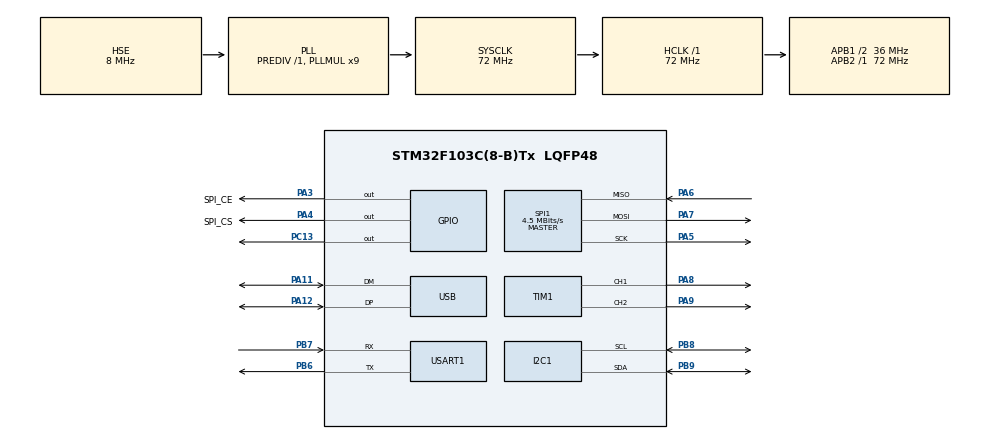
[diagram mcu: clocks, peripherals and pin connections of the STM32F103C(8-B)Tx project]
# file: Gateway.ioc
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Mcu.Family=STM32F1
Mcu.Name=STM32F103C(8-B)Tx
Mcu.Package=LQFP48
NVIC.PriorityGroup=NVIC_PRIORITYGROUP_4
NVIC.USB_LP_CAN1_RX0_IRQn=true\:0\:0\:false\:false\:true\:false\:true\:true
PA11.Mode=Device
PA11.Signal=USB_DM
PA12.Mode=Device
PA12.Signal=USB_DP
PA13.Mode=Serial_Wire
PA13.Signal=SYS_JTMS-SWDIO
PA14.Mode=Serial_Wire
PA14.Signal=SYS_JTCK-SWCLK
PA3.GPIO_Label=SPI_CE
PA3.Signal=GPIO_Output
PA4.GPIO_Label=SPI_CS
PA4.Signal=GPIO_Output
PA5.Mode=Full_Duplex_Master
PA5.Signal=SPI1_SCK
PA6.Mode=Full_Duplex_Master
PA6.Signal=SPI1_MISO
PA7.Mode=Full_Duplex_Master
PA7.Signal=SPI1_MOSI
PA8.Signal=S_TIM1_CH1
PA9.Signal=S_TIM1_CH2
PB6.Mode=Asynchronous
PB6.Signal=USART1_TX
PB7.Mode=Asynchronous
PB7.Signal=USART1_RX
PB8.Mode=I2C
PB8.Signal=I2C1_SCL
PB9.Mode=I2C
PB9.Signal=I2C1_SDA
PC13-TAMPER-RTC.Signal=GPIO_Output
PD0-OSC_IN.Mode=HSE-External-Oscillator
PD0-OSC_IN.Signal=RCC_OSC_IN
PD1-OSC_OUT.Mode=HSE-External-Oscillator
PD1-OSC_OUT.Signal=RCC_OSC_OUT
ProjectManager.HeapSize=0x200
ProjectManager.StackSize=0x400
ProjectManager.TargetToolchain=MDK-ARM V5.32
RCC.AHBFreq_Value=72000000
RCC.APB1CLKDivider=RCC_HCLK_DIV2
RCC.APB1Freq_Value=36000000
RCC.APB1TimFreq_Value=72000000
RCC.APB2Freq_Value=72000000
RCC.APB2TimFreq_Value=72000000
RCC.HCLKFreq_Value=72000000
RCC.PLLMUL=RCC_PLL_MUL9
RCC.PLLSourceVirtual=RCC_PLLSOURCE_HSE
RCC.SYSCLKFreq_VALUE=72000000
RCC.SYSCLKSource=RCC_SYSCLKSOURCE_PLLCLK
RCC.USBFreq_Value=48000000
RCC.USBPrescaler=RCC_USBCLKSOURCE_PLL_DIV1_5
SH.S_TIM1_CH1.0=TIM1_CH1,PWM Generation1 CH1
SH.S_TIM1_CH2.0=TIM1_CH2,Output Compare2 CH2
SPI1.BaudRatePrescaler=SPI_BAUDRATEPRESCALER_16
SPI1.CalculateBaudRate=4.5 MBits/s
SPI1.DataSize=SPI_DATASIZE_8BIT
SPI1.Direction=SPI_DIRECTION_2LINES
SPI1.Mode=SPI_MODE_MASTER
SPI1.VirtualType=VM_MASTER
TIM1.Channel-Output\ Compare2\ CH2=TIM_CHANNEL_2
TIM1.Channel-PWM\ Generation1\ CH1=TIM_CHANNEL_1
USART1.VirtualMode=VM_ASYNC
USB_DEVICE.APP_RX_DATA_SIZE=128
USB_DEVICE.APP_TX_DATA_SIZE=128
USB_DEVICE.CLASS_NAME_FS=CDC
USB_DEVICE.VirtualMode=Cdc
USB_DEVICE.VirtualModeFS=Cdc_FS
VP_TIM1_VS_ClockSourceINT.Mode=Internal
VP_USB_DEVICE_VS_USB_DEVICE_CDC_FS.Mode=CDC_FS
board=custom

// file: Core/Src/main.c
/* USER CODE BEGIN Header */
/**
  ******************************************************************************
  * @file           : main.c
  * @brief          : Main program body
  ******************************************************************************
  * @attention
  *
  * Copyright (c) 2023 STMicroelectronics.
  * All rights reserved.
  *
  * This software is licensed under terms that can be found in the LICENSE file
  * in the root directory of this software component.
  * If no LICENSE file comes with this software, it is provided AS-IS.
  *
  ******************************************************************************
  */
/* USER CODE END Header */
#include "main.h"
#include "usb_device.h"

/* USER CODE BEGIN Includes */
#include "MY_NRF24.h"
#include "i2c-lcd.h"
#include "stdio.h"
#include "usbd_cdc_if.h"
#include "stdio.h"
#include "stdlib.h"
/* USER CODE END Includes */

I2C_HandleTypeDef hi2c1;

SPI_HandleTypeDef hspi1;

TIM_HandleTypeDef htim1;

UART_HandleTypeDef huart1;

/* USER CODE BEGIN PV */
uint16_t myRxData1[50];
uint16_t myRxData2[50];
char ReceivedData[100];

extern uint8_t Rxcount;
extern uint32_t dataSize;
extern uint8_t check;
extern uint32_t time;
/* USER CODE END PV */

void SystemClock_Config(void);
static void MX_GPIO_Init(void);
static void MX_SPI1_Init(void);
static void MX_TIM1_Init(void);
static void MX_USART1_UART_Init(void);
static void MX_I2C1_Init(void);

/* USER CODE BEGIN 0 */

//   cmd +   length   +   dulieu   +   checksum
// [1 byte] [1 byte]   [length byte] [1 byte]
uint8_t checksum (uint16_t *data)
{
	uint16_t check_sum = 0;
	check_sum += data[0] + data[1];
	for (uint8_t i = 0; i< data[1]; i++)
	{
		check_sum += data[2+i];
	}
	return check_sum;
}

char tempVal1;
char tempVal2;
bool process_data (uint16_t *data)
{
	uint8_t len = 2+ data[1];
	if (checksum(data) == data[len])
	{
		return 1;
	}
	else
	{
		return 0;
	}
}

void command(uint8_t *data)
{
      HAL_GPIO_TogglePin(GPIOC, GPIO_PIN_13);
			CDC_Transmit_FS(data, sizeof(data));
			for(int i = 0; i < sizeof(data); i++)
			{
				data[i] = 0;
			}
			HAL_Delay(1000);

}

uint64_t RxpipeAddrs1 = 0x11223344AA;
uint64_t RxpipeAddrs2 = 0x11223344BB;
uint64_t TxpipeAddrs1 = 0x11223344AA;
uint64_t TxpipeAddrs2 = 0x11223344BB;
uint8_t pipenum;

char myAckPayload[32] = "Ack by STMF7!";
uint16_t myTxData[32];
#define SLAVE_ADDRESS_LCD 0x4E // change this according to ur setup
//uint8_t data[5]="ABC";
/* USER CODE END 0 */

int main(void)
{

  /* MCU Configuration--------------------------------------------------------*/

  /* Reset of all peripherals, Initializes the Flash interface and the Systick. */
  HAL_Init();

  /* Configure the system clock */
  SystemClock_Config();

  /* Initialize all configured peripherals */
  MX_GPIO_Init();
  MX_SPI1_Init();
  MX_TIM1_Init();
  MX_USART1_UART_Init();
  MX_I2C1_Init();
  MX_USB_DEVICE_Init();
  /* USER CODE BEGIN 2 */

	NRF24_begin(GPIOA, GPIO_PIN_4, GPIO_PIN_3, hspi1);
	nrf24_DebugUART_Init(huart1);

	printRadioSettings();

		//**** TRANSMIT - ACK ****//

	NRF24_setAutoAck(true);
	NRF24_setChannel(52);
	NRF24_setPayloadSize(32);
  NRF24_openReadingPipe(0, RxpipeAddrs1);
	NRF24_openReadingPipe(1, RxpipeAddrs2);

	HAL_Delay(1000);
	int myRxData11;
	char send1[8];
	char send2[8];

  /* USER CODE END 2 */

  /* Infinite loop */
  /* USER CODE BEGIN WHILE */
	uint8_t max_temp;
  while (1)
  {
    /* USER CODE END WHILE */

    /* USER CODE BEGIN 3 */

		NRF24_startListening();
		HAL_Delay(50);
    if(NRF24_availablePipe(&pipenum))
		{

			if(pipenum == 0)
			{
			  NRF24_read(myRxData1, 32);
			  process_data(myRxData1);
				sprintf(send1, "1%d",myRxData1[2]);
				//myRxData11 = myRxData1[2];
		    //char *myRxData111 = (char *)(myRxData11);

				if(myRxData1[0]!=0)
				{
				   //HAL_GPIO_TogglePin(GPIOC, GPIO_PIN_13);-
			     while(CDC_Transmit_FS((uint8_t *)(send1),sizeof(send1)) == USBD_BUSY){HAL_Delay(100);}
//			     for(int i = 0; i < sizeof(myRxData1); i++)
//			     {
//				      myRxData1[i] = 0;
//			     }
			     HAL_Delay(1000);

			  }
		  }
			else if(pipenum == 1)
			{
				NRF24_read(myRxData2, 32);
			  process_data(myRxData2);
				sprintf(send2, "2%d",myRxData2[2]);
				//myRxData11 = myRxData1[2];
		    //char *myRxData111 = (char *)(myRxData11);

				if(myRxData2[0]!=0)
				{
				   //HAL_GPIO_TogglePin(GPIOC, GPIO_PIN_13);
			     while(CDC_Transmit_FS((uint8_t *)(send2),sizeof(send2)) == USBD_BUSY){HAL_Delay(100);}
//			     for(int i = 0; i < sizeof(myRxData1); i++)
//			     {
//				      myRxData1[i] = 0;
//			     }
			     HAL_Delay(1000);
			  }
			}
    }

		if(check == 1)
		{

			NRF24_stopListening();
      myTxData[0] = 0x01;
	    myTxData[1] = 0x02;
		  myTxData[2] = (uint8_t)ReceivedData[0] - 48;
		  myTxData[3] = (uint8_t)ReceivedData[1] - 48;
		  myTxData[4] = checksum(myTxData);

			NRF24_openWritingPipe(TxpipeAddrs2);
		  NRF24_write(myTxData, 32);

			NRF24_openWritingPipe(TxpipeAddrs1);
			NRF24_write(myTxData, 32);
			//CDC_Transmit_FS((uint8_t *)ReceivedData, 2);
			for(int i = 0; i < dataSize; i++)
			{
				ReceivedData[i] = 0;
			}
			check = 0;
		}
  }
  /* USER CODE END 3 */
}

void SystemClock_Config(void)
{
  RCC_OscInitTypeDef RCC_OscInitStruct = {0};
  RCC_ClkInitTypeDef RCC_ClkInitStruct = {0};
  RCC_PeriphCLKInitTypeDef PeriphClkInit = {0};

  /** Initializes the RCC Oscillators according to the specified parameters
  * in the RCC_OscInitTypeDef structure.
  */
  RCC_OscInitStruct.OscillatorType = RCC_OSCILLATORTYPE_HSE;
  RCC_OscInitStruct.HSEState = RCC_HSE_ON;
  RCC_OscInitStruct.HSEPredivValue = RCC_HSE_PREDIV_DIV1;
  RCC_OscInitStruct.HSIState = RCC_HSI_ON;
  RCC_OscInitStruct.PLL.PLLState = RCC_PLL_ON;
  RCC_OscInitStruct.PLL.PLLSource = RCC_PLLSOURCE_HSE;
  RCC_OscInitStruct.PLL.PLLMUL = RCC_PLL_MUL9;
  if (HAL_RCC_OscConfig(&RCC_OscInitStruct) != HAL_OK)
  {
    Error_Handler();
  }

  /** Initializes the CPU, AHB and APB buses clocks
  */
  RCC_ClkInitStruct.ClockType = RCC_CLOCKTYPE_HCLK|RCC_CLOCKTYPE_SYSCLK
                              |RCC_CLOCKTYPE_PCLK1|RCC_CLOCKTYPE_PCLK2;
  RCC_ClkInitStruct.SYSCLKSource = RCC_SYSCLKSOURCE_PLLCLK;
  RCC_ClkInitStruct.AHBCLKDivider = RCC_SYSCLK_DIV1;
  RCC_ClkInitStruct.APB1CLKDivider = RCC_HCLK_DIV2;
  RCC_ClkInitStruct.APB2CLKDivider = RCC_HCLK_DIV1;

  if (HAL_RCC_ClockConfig(&RCC_ClkInitStruct, FLASH_LATENCY_2) != HAL_OK)
  {
    Error_Handler();
  }
  PeriphClkInit.PeriphClockSelection = RCC_PERIPHCLK_USB;
  PeriphClkInit.UsbClockSelection = RCC_USBCLKSOURCE_PLL_DIV1_5;
  if (HAL_RCCEx_PeriphCLKConfig(&PeriphClkInit) != HAL_OK)
  {
    Error_Handler();
  }
}

static void MX_I2C1_Init(void)
{

  hi2c1.Instance = I2C1;
  hi2c1.Init.ClockSpeed = 100000;
  hi2c1.Init.DutyCycle = I2C_DUTYCYCLE_2;
  hi2c1.Init.OwnAddress1 = 0;
  hi2c1.Init.AddressingMode = I2C_ADDRESSINGMODE_7BIT;
  hi2c1.Init.DualAddressMode = I2C_DUALADDRESS_DISABLE;
  hi2c1.Init.OwnAddress2 = 0;
  hi2c1.Init.GeneralCallMode = I2C_GENERALCALL_DISABLE;
  hi2c1.Init.NoStretchMode = I2C_NOSTRETCH_DISABLE;
  if (HAL_I2C_Init(&hi2c1) != HAL_OK)
  {
    Error_Handler();
  }

}

static void MX_SPI1_Init(void)
{

  /* SPI1 parameter configuration*/
  hspi1.Instance = SPI1;
  hspi1.Init.Mode = SPI_MODE_MASTER;
  hspi1.Init.Direction = SPI_DIRECTION_2LINES;
  hspi1.Init.DataSize = SPI_DATASIZE_8BIT;
  hspi1.Init.CLKPolarity = SPI_POLARITY_LOW;
  hspi1.Init.CLKPhase = SPI_PHASE_1EDGE;
  hspi1.Init.NSS = SPI_NSS_SOFT;
  hspi1.Init.BaudRatePrescaler = SPI_BAUDRATEPRESCALER_16;
  hspi1.Init.FirstBit = SPI_FIRSTBIT_MSB;
  hspi1.Init.TIMode = SPI_TIMODE_DISABLE;
  hspi1.Init.CRCCalculation = SPI_CRCCALCULATION_DISABLE;
  hspi1.Init.CRCPolynomial = 10;
  if (HAL_SPI_Init(&hspi1) != HAL_OK)
  {
    Error_Handler();
  }

}

static void MX_TIM1_Init(void)
{

  TIM_ClockConfigTypeDef sClockSourceConfig = {0};
  TIM_MasterConfigTypeDef sMasterConfig = {0};
  TIM_OC_InitTypeDef sConfigOC = {0};
  TIM_BreakDeadTimeConfigTypeDef sBreakDeadTimeConfig = {0};

  htim1.Instance = TIM1;
  htim1.Init.Prescaler = 0;
  htim1.Init.CounterMode = TIM_COUNTERMODE_UP;
  htim1.Init.Period = 65535;
  htim1.Init.ClockDivision = TIM_CLOCKDIVISION_DIV1;
  htim1.Init.RepetitionCounter = 0;
  htim1.Init.AutoReloadPreload = TIM_AUTORELOAD_PRELOAD_DISABLE;
  if (HAL_TIM_Base_Init(&htim1) != HAL_OK)
  {
    Error_Handler();
  }
  sClockSourceConfig.ClockSource = TIM_CLOCKSOURCE_INTERNAL;
  if (HAL_TIM_ConfigClockSource(&htim1, &sClockSourceConfig) != HAL_OK)
  {
    Error_Handler();
  }
  if (HAL_TIM_PWM_Init(&htim1) != HAL_OK)
  {
    Error_Handler();
  }
  if (HAL_TIM_OC_Init(&htim1) != HAL_OK)
  {
    Error_Handler();
  }
  sMasterConfig.MasterOutputTrigger = TIM_TRGO_RESET;
  sMasterConfig.MasterSlaveMode = TIM_MASTERSLAVEMODE_DISABLE;
  if (HAL_TIMEx_MasterConfigSynchronization(&htim1, &sMasterConfig) != HAL_OK)
  {
    Error_Handler();
  }
  sConfigOC.OCMode = TIM_OCMODE_PWM1;
  sConfigOC.Pulse = 0;
  sConfigOC.OCPolarity = TIM_OCPOLARITY_HIGH;
  sConfigOC.OCNPolarity = TIM_OCNPOLARITY_HIGH;
  sConfigOC.OCFastMode = TIM_OCFAST_DISABLE;
  sConfigOC.OCIdleState = TIM_OCIDLESTATE_RESET;
  sConfigOC.OCNIdleState = TIM_OCNIDLESTATE_RESET;
  if (HAL_TIM_PWM_ConfigChannel(&htim1, &sConfigOC, TIM_CHANNEL_1) != HAL_OK)
  {
    Error_Handler();
  }
  sConfigOC.OCMode = TIM_OCMODE_TIMING;
  if (HAL_TIM_OC_ConfigChannel(&htim1, &sConfigOC, TIM_CHANNEL_2) != HAL_OK)
  {
    Error_Handler();
  }
  sBreakDeadTimeConfig.OffStateRunMode = TIM_OSSR_DISABLE;
  sBreakDeadTimeConfig.OffStateIDLEMode = TIM_OSSI_DISABLE;
  sBreakDeadTimeConfig.LockLevel = TIM_LOCKLEVEL_OFF;
  sBreakDeadTimeConfig.DeadTime = 0;
  sBreakDeadTimeConfig.BreakState = TIM_BREAK_DISABLE;
  sBreakDeadTimeConfig.BreakPolarity = TIM_BREAKPOLARITY_HIGH;
  sBreakDeadTimeConfig.AutomaticOutput = TIM_AUTOMATICOUTPUT_DISABLE;
  if (HAL_TIMEx_ConfigBreakDeadTime(&htim1, &sBreakDeadTimeConfig) != HAL_OK)
  {
    Error_Handler();
  }
  HAL_TIM_MspPostInit(&htim1);

}

static void MX_USART1_UART_Init(void)
{

  huart1.Instance = USART1;
  huart1.Init.BaudRate = 115200;
  huart1.Init.WordLength = UART_WORDLENGTH_8B;
  huart1.Init.StopBits = UART_STOPBITS_1;
  huart1.Init.Parity = UART_PARITY_NONE;
  huart1.Init.Mode = UART_MODE_TX_RX;
  huart1.Init.HwFlowCtl = UART_HWCONTROL_NONE;
  huart1.Init.OverSampling = UART_OVERSAMPLING_16;
  if (HAL_UART_Init(&huart1) != HAL_OK)
  {
    Error_Handler();
  }

}

static void MX_GPIO_Init(void)
{
  GPIO_InitTypeDef GPIO_InitStruct = {0};

  /* GPIO Ports Clock Enable */
  __HAL_RCC_GPIOC_CLK_ENABLE();
  __HAL_RCC_GPIOD_CLK_ENABLE();
  __HAL_RCC_GPIOA_CLK_ENABLE();
  __HAL_RCC_GPIOB_CLK_ENABLE();

  /*Configure GPIO pin Output Level */
  HAL_GPIO_WritePin(GPIOC, GPIO_PIN_13, GPIO_PIN_RESET);

  /*Configure GPIO pin Output Level */
  HAL_GPIO_WritePin(GPIOA, SPI_CE_Pin|SPI_CS_Pin, GPIO_PIN_RESET);

  /*Configure GPIO pin : PC13 */
  GPIO_InitStruct.Pin = GPIO_PIN_13;
  GPIO_InitStruct.Mode = GPIO_MODE_OUTPUT_PP;
  GPIO_InitStruct.Pull = GPIO_NOPULL;
  GPIO_InitStruct.Speed = GPIO_SPEED_FREQ_LOW;
  HAL_GPIO_Init(GPIOC, &GPIO_InitStruct);

  /*Configure GPIO pins : SPI_CE_Pin SPI_CS_Pin */
  GPIO_InitStruct.Pin = SPI_CE_Pin|SPI_CS_Pin;
  GPIO_InitStruct.Mode = GPIO_MODE_OUTPUT_PP;
  GPIO_InitStruct.Pull = GPIO_NOPULL;
  GPIO_InitStruct.Speed = GPIO_SPEED_FREQ_LOW;
  HAL_GPIO_Init(GPIOA, &GPIO_InitStruct);

}

void Error_Handler(void)
{
  __disable_irq();
  while (1)
  {
  }
}
